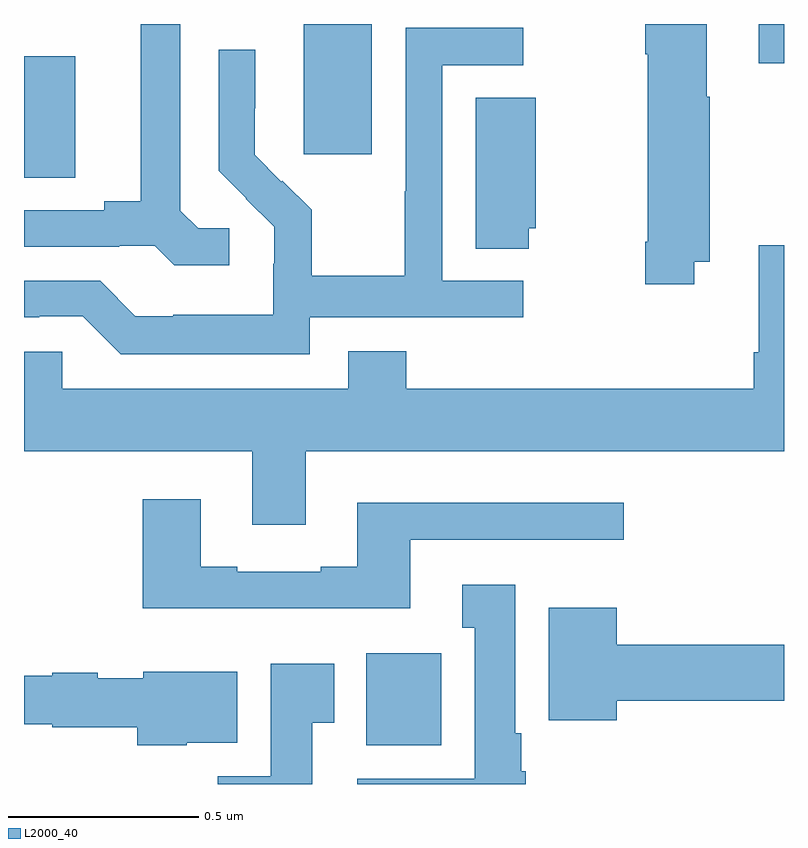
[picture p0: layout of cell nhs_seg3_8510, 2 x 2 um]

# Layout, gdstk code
import gdstk
lib = gdstk.Library(unit=1e-6, precision=1e-09)
def R(c, l, rs):  # rectangles x0, y0, x1, y1
    for r in rs: c.add(gdstk.rectangle(r[:2], r[2:], *l))
def P(c, l, *ps):  # polygons
    for p in ps: c.add(gdstk.Polygon(p, *l))
L2000_40 = (2000, 40)

nhs_seg3_8510 = lib.new_cell('nhs_seg3_8510')
R(nhs_seg3_8510, L2000_40, [(217.901,673.502,218.098,673.744), (217,674.995,217.135,675.315), (217.736,675.057,217.915,675.4), (218.933,675.297,219,675.4)])
P(nhs_seg3_8510, L2000_40, [(218.764,674.774),(218.805,674.774),(218.805,675.209),(218.797,675.209),(218.797,675.4),(218.635,675.4),(218.635,675.32),(218.642,675.32),(218.642,674.827),(218.635,674.827),(218.635,674.715),(218.764,674.715)],
  [(217.54,674.862),(217.458,674.862),(217.411,674.909),(217.411,675.4),(217.307,675.4),(217.307,674.933),(217.211,674.933),(217.211,674.91),(217,674.91),(217,674.814),(217.25,674.814),(217.25,674.817),(217.344,674.817),(217.396,674.765),(217.54,674.765)],
  [(217.752,674.628),(218.314,674.628),(218.314,674.724),(218.1,674.724),(218.1,675.291),(218.314,675.291),(218.314,675.39),(218.004,675.39),(218.004,674.96),(218.002,674.96),(218.002,674.737),(217.757,674.737),(217.757,674.911),(217.68,674.988),(217.677,674.985),(217.607,675.056),(217.607,675.178),(217.608,675.178),(217.608,675.332),(217.512,675.332),(217.512,675.014),(217.585,674.941),(217.584,674.94),(217.658,674.866),(217.658,674.769),(217.656,674.769),(217.656,674.635),(217.393,674.635),(217.393,674.631),(217.293,674.631),(217.2,674.724),(217,674.724),(217,674.628),(217.04,674.628),(217.04,674.631),(217.155,674.631),(217.255,674.531),(217.752,674.531)],
  [(218.328,674.862),(218.347,674.862),(218.347,675.206),(218.189,675.206),(218.189,674.809),(218.328,674.809)],
  [(217.741,674.276),(219,674.276),(219,674.818),(218.933,674.818),(218.933,674.536),(218.921,674.536),(218.921,674.44),(218.006,674.44),(218.006,674.539),(217.853,674.539),(217.853,674.44),(217.101,674.44),(217.101,674.538),(217,674.538),(217,674.276),(217.601,674.276),(217.601,674.082),(217.741,674.082)],
  [(218.017,674.043),(218.578,674.043),(218.578,674.14),(217.877,674.14),(217.877,673.972),(217.781,673.972),(217.781,673.959),(217.561,673.959),(217.561,673.972),(217.465,673.972),(217.465,674.149),(217.313,674.149),(217.313,673.862),(218.017,673.862)],
  [(218.32,673.434),(218.308,673.434),(218.308,673.534),(218.293,673.534),(218.293,673.924),(218.153,673.924),(218.153,673.811),(218.186,673.811),(218.186,673.414),(217.877,673.414),(217.877,673.4),(218.32,673.4)],
  [(218.56,673.619),(219,673.619),(219,673.766),(218.56,673.766),(218.56,673.864),(218.381,673.864),(218.381,673.568),(218.56,673.568)],
  [(217.759,673.561),(217.816,673.561),(217.816,673.717),(217.649,673.717),(217.649,673.42),(217.51,673.42),(217.51,673.4),(217.759,673.4)],
  [(217.428,673.508),(217.561,673.508),(217.561,673.696),(217.314,673.696),(217.314,673.678),(217.194,673.678),(217.194,673.693),(217.074,673.693),(217.074,673.685),(217,673.685),(217,673.557),(217.074,673.557),(217.074,673.549),(217.298,673.549),(217.298,673.502),(217.428,673.502)])

lib.write_gds('nhs_seg3_8510.gds')
